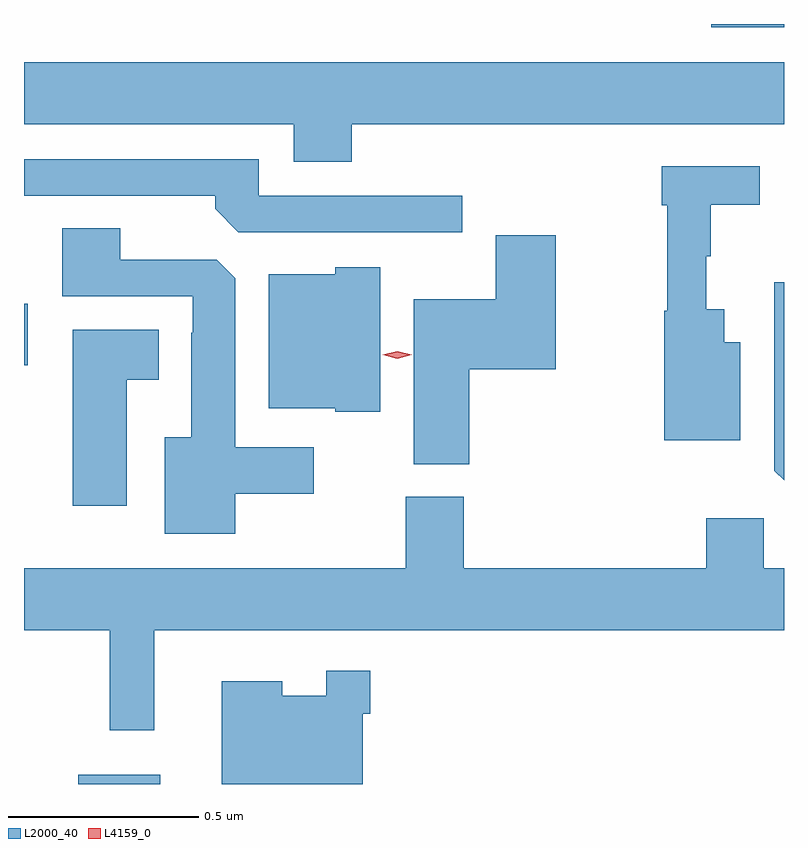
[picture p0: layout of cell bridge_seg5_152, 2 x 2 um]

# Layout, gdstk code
import gdstk
lib = gdstk.Library(unit=1e-6, precision=1e-09)
def R(c, l, rs):  # rectangles x0, y0, x1, y1
    for r in rs: c.add(gdstk.rectangle(r[:2], r[2:], *l))
def P(c, l, *ps):  # polygons
    for p in ps: c.add(gdstk.Polygon(p, *l))
L2000_40 = (2000, 40)
L4159_0 = (4159, 0)

bridge_seg5_152 = lib.new_cell('bridge_seg5_152')
R(bridge_seg5_152, L2000_40, [(154.034,884.328,154.249,884.353), (153.891,885.43,153.901,885.592), (155.7,886.32,155.891,886.328)])
P(bridge_seg5_152, L2000_40, [(154.754,886.064),(155.891,886.064),(155.891,886.228),(153.891,886.228),(153.891,886.064),(154.601,886.064),(154.601,885.965),(154.754,885.965)],
  [(155.044,885.876),(154.509,885.876),(154.509,885.972),(153.891,885.972),(153.891,885.876),(154.394,885.876),(154.394,885.842),(154.455,885.78),(155.044,885.78)],
  [(155.776,885.49),(155.734,885.49),(155.734,885.577),(155.687,885.577),(155.687,885.717),(155.698,885.717),(155.698,885.853),(155.827,885.853),(155.827,885.954),(155.569,885.954),(155.569,885.851),(155.584,885.851),(155.584,885.573),(155.576,885.573),(155.576,885.233),(155.776,885.233)],
  [(154.447,885.092),(154.654,885.092),(154.654,885.214),(154.447,885.214),(154.447,885.659),(154.398,885.708),(154.144,885.708),(154.144,885.791),(153.992,885.791),(153.992,885.612),(154.335,885.612),(154.335,885.515),(154.331,885.515),(154.331,885.241),(154.262,885.241),(154.262,884.987),(154.447,884.987)],
  [(155.063,885.419),(155.29,885.419),(155.29,885.772),(155.132,885.772),(155.132,885.604),(154.916,885.604),(154.916,885.169),(155.063,885.169)],
  [(154.828,885.688),(154.71,885.688),(154.71,885.67),(154.535,885.67),(154.535,885.317),(154.71,885.317),(154.71,885.308),(154.828,885.308)],
  [(155.891,885.649),(155.865,885.649),(155.865,885.153),(155.891,885.127)],
  [(154.162,885.392),(154.246,885.392),(154.246,885.523),(154.019,885.523),(154.019,885.06),(154.162,885.06)],
  [(154.234,884.732),(155.891,884.732),(155.891,884.896),(155.838,884.896),(155.838,885.028),(155.687,885.028),(155.687,884.896),(155.048,884.896),(155.048,885.084),(154.895,885.084),(154.895,884.896),(153.891,884.896),(153.891,884.732),(154.117,884.732),(154.117,884.469),(154.234,884.469)],
  [(154.782,884.513),(154.802,884.513),(154.802,884.626),(154.686,884.626),(154.686,884.56),(154.57,884.56),(154.57,884.599),(154.412,884.599),(154.412,884.328),(154.782,884.328)])
P(bridge_seg5_152, L4159_0, [(154.873,885.447),(154.835,885.457),(154.835,885.457),(154.835,885.457),(154.873,885.467),(154.911,885.457),(154.911,885.457),(154.911,885.457)])

lib.write_gds('bridge_seg5_152.gds')
